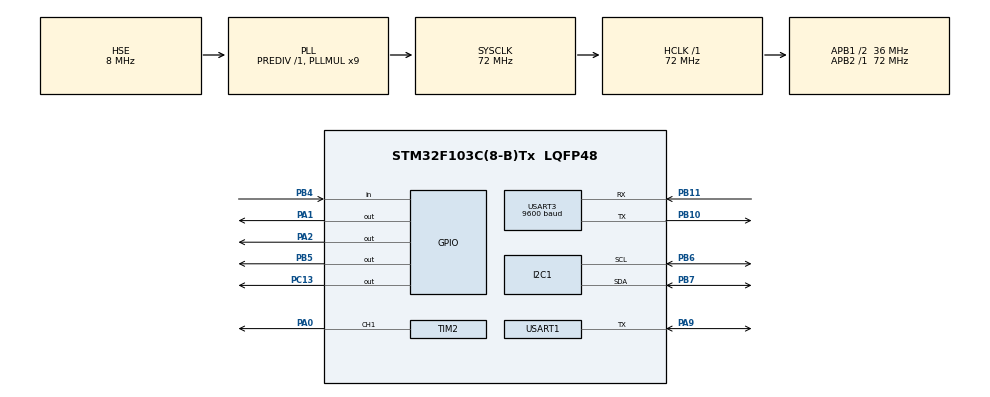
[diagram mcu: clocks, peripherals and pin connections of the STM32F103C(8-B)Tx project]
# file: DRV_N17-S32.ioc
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FREERTOS.Tasks01=defaultTask,0,128,StartDefaultTask,Default,NULL,Dynamic,NULL,NULL
FREERTOS.configUSE_NEWLIB_REENTRANT=1
I2C1.DutyCycle=I2C_DUTYCYCLE_2
I2C1.I2C_Mode=I2C_Fast
Mcu.Family=STM32F1
Mcu.Name=STM32F103C(8-B)Tx
Mcu.Package=LQFP48
NVIC.I2C1_ER_IRQn=true\:5\:0\:false\:false\:true\:true\:true\:true\:true
NVIC.I2C1_EV_IRQn=true\:5\:0\:false\:false\:true\:true\:true\:true\:true
NVIC.PriorityGroup=NVIC_PRIORITYGROUP_4
NVIC.TIM1_UP_IRQn=true\:15\:0\:false\:false\:true\:false\:false\:true\:true
NVIC.TIM2_IRQn=true\:5\:0\:false\:false\:true\:true\:true\:true\:true
NVIC.TIM3_IRQn=true\:5\:0\:false\:false\:true\:true\:true\:true\:true
NVIC.TimeBase=TIM1_UP_IRQn
NVIC.TimeBaseIP=TIM1
NVIC.USART1_IRQn=true\:5\:0\:false\:false\:true\:true\:true\:true\:true
PA0-WKUP.Signal=S_TIM2_CH1_ETR
PA1.Signal=GPIO_Output
PA13.Mode=JTAG_4_pins
PA13.Signal=SYS_JTMS-SWDIO
PA14.Mode=JTAG_4_pins
PA14.Signal=SYS_JTCK-SWCLK
PA15.Mode=JTAG_4_pins
PA15.Signal=SYS_JTDI
PA2.Signal=GPIO_Output
PA9.Mode=Half_duplex(single_wire_mode)
PA9.Signal=USART1_TX
PB10.Mode=Asynchronous
PB10.Signal=USART3_TX
PB11.Mode=Asynchronous
PB11.Signal=USART3_RX
PB3.Mode=JTAG_4_pins
PB3.Signal=SYS_JTDO-TRACESWO
PB4.Signal=GPIO_Input
PB5.Signal=GPIO_Output
PB6.Mode=I2C
PB6.Signal=I2C1_SCL
PB7.Mode=I2C
PB7.Signal=I2C1_SDA
PC13-TAMPER-RTC.Signal=GPIO_Output
PD0-OSC_IN.Mode=HSE-External-Oscillator
PD0-OSC_IN.Signal=RCC_OSC_IN
PD1-OSC_OUT.Mode=HSE-External-Oscillator
PD1-OSC_OUT.Signal=RCC_OSC_OUT
ProjectManager.HeapSize=0x200
ProjectManager.StackSize=0x400
ProjectManager.TargetToolchain=STM32CubeIDE
RCC.AHBFreq_Value=72000000
RCC.APB1CLKDivider=RCC_HCLK_DIV2
RCC.APB1Freq_Value=36000000
RCC.APB1TimFreq_Value=72000000
RCC.APB2Freq_Value=72000000
RCC.APB2TimFreq_Value=72000000
RCC.HCLKFreq_Value=72000000
RCC.PLLMUL=RCC_PLL_MUL9
RCC.PLLSourceVirtual=RCC_PLLSOURCE_HSE
RCC.SYSCLKFreq_VALUE=72000000
RCC.SYSCLKSource=RCC_SYSCLKSOURCE_PLLCLK
RCC.USBFreq_Value=48000000
RCC.USBPrescaler=RCC_USBCLKSOURCE_PLL_DIV1_5
SH.S_TIM2_CH1_ETR.0=TIM2_CH1,PWM Generation1 CH1
TIM2.Channel-PWM\ Generation1\ CH1=TIM_CHANNEL_1
TIM2.OC1Preload_PWM=ENABLE
TIM2.Period=4 - 1
TIM2.Prescaler=72 - 1
TIM2.Pulse-PWM\ Generation1\ CH1=50
TIM3.Period=1000 - 1
TIM3.Prescaler=72 - 1
USART1.BaudRate=230400
USART1.Mode=MODE_TX_RX
USART1.VirtualMode=VM_ASYNC
USART3.BaudRate=9600
USART3.VirtualMode=VM_ASYNC
VP_FREERTOS_VS_CMSIS_V1.Mode=CMSIS_V1
VP_SYS_VS_tim1.Mode=TIM1
VP_TIM3_VS_ClockSourceINT.Mode=Internal
board=custom

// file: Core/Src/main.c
/* USER CODE BEGIN Header */
/**
  ******************************************************************************
  * @file           : main.c
  * @brief          : Main program body
  ******************************************************************************
  * @attention
  *
  * Copyright (c) 2025 STMicroelectronics.
  * All rights reserved.
  *
  * This software is licensed under terms that can be found in the LICENSE file
  * in the root directory of this software component.
  * If no LICENSE file comes with this software, it is provided AS-IS.
  *
  ******************************************************************************
  */
/* USER CODE END Header */
#include "main.h"
#include "cmsis_os.h"

/* USER CODE BEGIN Includes */
#include "i2c_bus.h"
#include "../../Encoder/Inc/Encoder.h"
#include "watcher.h"
#include "../../Encoder/Inc/encoder_calib.h"
#include "../../MotorDriver/Inc/motion.h"
/* USER CODE END Includes */

I2C_HandleTypeDef hi2c1;

TIM_HandleTypeDef htim2;
TIM_HandleTypeDef htim3;

UART_HandleTypeDef huart1;
UART_HandleTypeDef huart3;

osThreadId defaultTaskHandle;
/* USER CODE BEGIN PV */
osThreadId driverTaskHandler;
osThreadId encoderTaskHandler;
osThreadId watcherTaskHandler;
/* USER CODE END PV */

void SystemClock_Config(void);
static void MX_GPIO_Init(void);
static void MX_I2C1_Init(void);
static void MX_TIM2_Init(void);
static void MX_USART1_UART_Init(void);
static void MX_USART3_UART_Init(void);
static void MX_TIM3_Init(void);
void StartDefaultTask(void const * argument);

/* USER CODE BEGIN PFP */
void StartDriverTask(void const * argument);
void StartEncoderTask(void const * argument);
void StartImuTask(void const * argument);
void StartWatcherTask(void const * argument);

void suspendTaskEcpectSelf(void);
/* USER CODE END PFP */

/* USER CODE BEGIN 0 */
//private variable
int32_t encoder_counter = 0;
float pid_computed = 0;
float motor_speed = 40.0;	//Rps
int32_t motor_target = 0;
float pid_data = 0.0;
uint32_t driver_value = 0;
uint16_t enc_raw = 0;
uint8_t raw_buffer_container[2] = {0};
double accel_data[3] = {0};
uint8_t cycleErr = 0;
uint8_t mag_buff = 0;

uint8_t encoderReady_f = 0;
uint8_t imuReady_f = 0;
uint8_t driverReady_f = 0;
uint8_t allReady_f = 0;

int error_codes = -1;

/* USER CODE END 0 */

int main(void)
{

  /* MCU Configuration--------------------------------------------------------*/

  /* Reset of all peripherals, Initializes the Flash interface and the Systick. */
  HAL_Init();

  /* Configure the system clock */
  SystemClock_Config();

  /* Initialize all configured peripherals */
  MX_GPIO_Init();
  MX_I2C1_Init();
  MX_TIM2_Init();
  MX_USART1_UART_Init();
  MX_USART3_UART_Init();
  MX_TIM3_Init();
  /* USER CODE BEGIN 2 */
  i2c_bus_recover(&hi2c1);
  i2c_reset(&hi2c1);
  HAL_I2C_Init(&hi2c1);

  initWatcherStack();
  Motion_Init();
  EncoderInit();

  /* USER CODE END 2 */

  /* Create the thread(s) */
  /* definition and creation of defaultTask */
  osThreadDef(defaultTask, StartDefaultTask, osPriorityNormal, 0, 128);
  defaultTaskHandle = osThreadCreate(osThread(defaultTask), NULL);

  /* USER CODE BEGIN RTOS_THREADS */
  /* add threads, ... */
  osThreadDef(driverTask, StartDriverTask, osPriorityNormal, 0, 128);
  driverTaskHandler = osThreadCreate(osThread(driverTask), NULL);

  osThreadDef(encoderTask, StartEncoderTask, osPriorityNormal, 0, 128);
  encoderTaskHandler = osThreadCreate(osThread(encoderTask), NULL);

  osThreadDef(watcherTask, StartWatcherTask, osPriorityNormal, 0, 128);
  watcherTaskHandler = osThreadCreate(osThread(watcherTask), NULL);
  /* USER CODE END RTOS_THREADS */

  /* Start scheduler */
  osKernelStart();

  /* We should never get here as control is now taken by the scheduler */

  /* Infinite loop */
  while (1)
  {

  }
}

void SystemClock_Config(void)
{
  RCC_OscInitTypeDef RCC_OscInitStruct = {0};
  RCC_ClkInitTypeDef RCC_ClkInitStruct = {0};

  /** Initializes the RCC Oscillators according to the specified parameters
  * in the RCC_OscInitTypeDef structure.
  */
  RCC_OscInitStruct.OscillatorType = RCC_OSCILLATORTYPE_HSE;
  RCC_OscInitStruct.HSEState = RCC_HSE_ON;
  RCC_OscInitStruct.HSEPredivValue = RCC_HSE_PREDIV_DIV1;
  RCC_OscInitStruct.HSIState = RCC_HSI_ON;
  RCC_OscInitStruct.PLL.PLLState = RCC_PLL_ON;
  RCC_OscInitStruct.PLL.PLLSource = RCC_PLLSOURCE_HSE;
  RCC_OscInitStruct.PLL.PLLMUL = RCC_PLL_MUL9;
  if (HAL_RCC_OscConfig(&RCC_OscInitStruct) != HAL_OK)
  {
    Error_Handler();
  }

  /** Initializes the CPU, AHB and APB buses clocks
  */
  RCC_ClkInitStruct.ClockType = RCC_CLOCKTYPE_HCLK|RCC_CLOCKTYPE_SYSCLK
                              |RCC_CLOCKTYPE_PCLK1|RCC_CLOCKTYPE_PCLK2;
  RCC_ClkInitStruct.SYSCLKSource = RCC_SYSCLKSOURCE_PLLCLK;
  RCC_ClkInitStruct.AHBCLKDivider = RCC_SYSCLK_DIV1;
  RCC_ClkInitStruct.APB1CLKDivider = RCC_HCLK_DIV2;
  RCC_ClkInitStruct.APB2CLKDivider = RCC_HCLK_DIV1;

  if (HAL_RCC_ClockConfig(&RCC_ClkInitStruct, FLASH_LATENCY_2) != HAL_OK)
  {
    Error_Handler();
  }
}

static void MX_I2C1_Init(void)
{

  hi2c1.Instance = I2C1;
  hi2c1.Init.ClockSpeed = 400000;
  hi2c1.Init.DutyCycle = I2C_DUTYCYCLE_2;
  hi2c1.Init.OwnAddress1 = 0;
  hi2c1.Init.AddressingMode = I2C_ADDRESSINGMODE_7BIT;
  hi2c1.Init.DualAddressMode = I2C_DUALADDRESS_DISABLE;
  hi2c1.Init.OwnAddress2 = 0;
  hi2c1.Init.GeneralCallMode = I2C_GENERALCALL_DISABLE;
  hi2c1.Init.NoStretchMode = I2C_NOSTRETCH_DISABLE;
  if (HAL_I2C_Init(&hi2c1) != HAL_OK)
  {
    Error_Handler();
  }

}

static void MX_TIM2_Init(void)
{

  TIM_MasterConfigTypeDef sMasterConfig = {0};
  TIM_OC_InitTypeDef sConfigOC = {0};

  htim2.Instance = TIM2;
  htim2.Init.Prescaler = 72 - 1;
  htim2.Init.CounterMode = TIM_COUNTERMODE_UP;
  htim2.Init.Period = 4 - 1;
  htim2.Init.ClockDivision = TIM_CLOCKDIVISION_DIV1;
  htim2.Init.AutoReloadPreload = TIM_AUTORELOAD_PRELOAD_DISABLE;
  if (HAL_TIM_PWM_Init(&htim2) != HAL_OK)
  {
    Error_Handler();
  }
  sMasterConfig.MasterOutputTrigger = TIM_TRGO_RESET;
  sMasterConfig.MasterSlaveMode = TIM_MASTERSLAVEMODE_DISABLE;
  if (HAL_TIMEx_MasterConfigSynchronization(&htim2, &sMasterConfig) != HAL_OK)
  {
    Error_Handler();
  }
  sConfigOC.OCMode = TIM_OCMODE_PWM1;
  sConfigOC.Pulse = 50;
  sConfigOC.OCPolarity = TIM_OCPOLARITY_HIGH;
  sConfigOC.OCFastMode = TIM_OCFAST_DISABLE;
  if (HAL_TIM_PWM_ConfigChannel(&htim2, &sConfigOC, TIM_CHANNEL_1) != HAL_OK)
  {
    Error_Handler();
  }
  HAL_TIM_MspPostInit(&htim2);

}

static void MX_TIM3_Init(void)
{

  TIM_ClockConfigTypeDef sClockSourceConfig = {0};
  TIM_MasterConfigTypeDef sMasterConfig = {0};

  htim3.Instance = TIM3;
  htim3.Init.Prescaler = 72 - 1;
  htim3.Init.CounterMode = TIM_COUNTERMODE_UP;
  htim3.Init.Period = 1000 - 1;
  htim3.Init.ClockDivision = TIM_CLOCKDIVISION_DIV1;
  htim3.Init.AutoReloadPreload = TIM_AUTORELOAD_PRELOAD_DISABLE;
  if (HAL_TIM_Base_Init(&htim3) != HAL_OK)
  {
    Error_Handler();
  }
  sClockSourceConfig.ClockSource = TIM_CLOCKSOURCE_INTERNAL;
  if (HAL_TIM_ConfigClockSource(&htim3, &sClockSourceConfig) != HAL_OK)
  {
    Error_Handler();
  }
  sMasterConfig.MasterOutputTrigger = TIM_TRGO_RESET;
  sMasterConfig.MasterSlaveMode = TIM_MASTERSLAVEMODE_DISABLE;
  if (HAL_TIMEx_MasterConfigSynchronization(&htim3, &sMasterConfig) != HAL_OK)
  {
    Error_Handler();
  }

}

static void MX_USART1_UART_Init(void)
{

  huart1.Instance = USART1;
  huart1.Init.BaudRate = 230400;
  huart1.Init.WordLength = UART_WORDLENGTH_8B;
  huart1.Init.StopBits = UART_STOPBITS_1;
  huart1.Init.Parity = UART_PARITY_NONE;
  huart1.Init.Mode = UART_MODE_TX_RX;
  huart1.Init.HwFlowCtl = UART_HWCONTROL_NONE;
  huart1.Init.OverSampling = UART_OVERSAMPLING_16;
  if (HAL_HalfDuplex_Init(&huart1) != HAL_OK)
  {
    Error_Handler();
  }

}

static void MX_USART3_UART_Init(void)
{

  huart3.Instance = USART3;
  huart3.Init.BaudRate = 9600;
  huart3.Init.WordLength = UART_WORDLENGTH_8B;
  huart3.Init.StopBits = UART_STOPBITS_1;
  huart3.Init.Parity = UART_PARITY_NONE;
  huart3.Init.Mode = UART_MODE_TX_RX;
  huart3.Init.HwFlowCtl = UART_HWCONTROL_NONE;
  huart3.Init.OverSampling = UART_OVERSAMPLING_16;
  if (HAL_UART_Init(&huart3) != HAL_OK)
  {
    Error_Handler();
  }

}

static void MX_GPIO_Init(void)
{
  GPIO_InitTypeDef GPIO_InitStruct = {0};

  /* GPIO Ports Clock Enable */
  __HAL_RCC_GPIOC_CLK_ENABLE();
  __HAL_RCC_GPIOD_CLK_ENABLE();
  __HAL_RCC_GPIOA_CLK_ENABLE();
  __HAL_RCC_GPIOB_CLK_ENABLE();

  /*Configure GPIO pin Output Level */
  HAL_GPIO_WritePin(GPIOC, GPIO_PIN_13, GPIO_PIN_RESET);

  /*Configure GPIO pin Output Level */
  HAL_GPIO_WritePin(GPIOA, GPIO_PIN_1|GPIO_PIN_2, GPIO_PIN_RESET);

  /*Configure GPIO pin Output Level */
  HAL_GPIO_WritePin(GPIOB, GPIO_PIN_5, GPIO_PIN_RESET);

  /*Configure GPIO pin : PC13 */
  GPIO_InitStruct.Pin = GPIO_PIN_13;
  GPIO_InitStruct.Mode = GPIO_MODE_OUTPUT_PP;
  GPIO_InitStruct.Pull = GPIO_NOPULL;
  GPIO_InitStruct.Speed = GPIO_SPEED_FREQ_LOW;
  HAL_GPIO_Init(GPIOC, &GPIO_InitStruct);

  /*Configure GPIO pins : PA1 PA2 */
  GPIO_InitStruct.Pin = GPIO_PIN_1|GPIO_PIN_2;
  GPIO_InitStruct.Mode = GPIO_MODE_OUTPUT_PP;
  GPIO_InitStruct.Pull = GPIO_NOPULL;
  GPIO_InitStruct.Speed = GPIO_SPEED_FREQ_LOW;
  HAL_GPIO_Init(GPIOA, &GPIO_InitStruct);

  /*Configure GPIO pin : PB4 */
  GPIO_InitStruct.Pin = GPIO_PIN_4;
  GPIO_InitStruct.Mode = GPIO_MODE_INPUT;
  GPIO_InitStruct.Pull = GPIO_NOPULL;
  HAL_GPIO_Init(GPIOB, &GPIO_InitStruct);

  /*Configure GPIO pin : PB5 */
  GPIO_InitStruct.Pin = GPIO_PIN_5;
  GPIO_InitStruct.Mode = GPIO_MODE_OUTPUT_PP;
  GPIO_InitStruct.Pull = GPIO_NOPULL;
  GPIO_InitStruct.Speed = GPIO_SPEED_FREQ_LOW;
  HAL_GPIO_Init(GPIOB, &GPIO_InitStruct);

}

/* USER CODE BEGIN 4 */
void StartDriverTask(void const * argument){
	for(;;){
		Motion_Runtime();
	}
}

void StartEncoderTask(void const * argument){
	for(;;){
		encoder_counter = EncoderEnablePool();
	}
}

void StartWatcherTask(void const * argument){
	for(;;){
		displaySysStat();
		if(isErrorExist()){
			suspendTaskEcpectSelf();
		}
	}
}

void suspendTaskEcpectSelf(){
	vTaskSuspend(driverTaskHandler);
	vTaskSuspend(encoderTaskHandler);
}
/* USER CODE END 4 */

void StartDefaultTask(void const * argument)
{
  for(;;)
  {
    osDelay(1);
  }
}

void HAL_TIM_PeriodElapsedCallback(TIM_HandleTypeDef *htim)
{
  if (htim->Instance == TIM1) {
    HAL_IncTick();
  }
  /* USER CODE BEGIN Callback 1 */
  if (htim->Instance == TIM3) {
	  pid_computed = PID_Compute(&motor_target, &encoder_counter);
  }
  /* USER CODE END Callback 1 */
}

void Error_Handler(void)
{
  __disable_irq();
  while (1)
  {
  }
}
